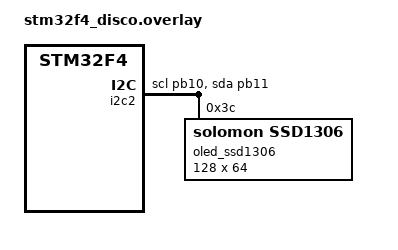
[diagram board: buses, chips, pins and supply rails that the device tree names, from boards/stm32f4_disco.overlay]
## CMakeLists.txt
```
cmake_minimum_required(VERSION 3.20.0)

find_package(Zephyr REQUIRED HINTS $ENV{ZEPHYR_BASE})
project(oled_app)

target_sources(app PRIVATE src/main.c)
```

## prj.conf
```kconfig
CONFIG_I2C=y
CONFIG_PRINTK=y
CONFIG_SERIAL=y
CONFIG_CONSOLE=y
CONFIG_DISPLAY=y
CONFIG_LOG=y
CONFIG_MAIN_STACK_SIZE=4096
```

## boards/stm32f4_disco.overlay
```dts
&i2c2 {
    status = "okay";
	pinctrl-0 = < &i2c2_scl_pb10 &i2c2_sda_pb11 >;

	pinctrl-names = "default";

    oled_ssd1306: oled@3c {
        compatible = "solomon,ssd1306";
        reg = <0x3c>;
        width = <128>;
        height = <64>;
        segment-offset = <0>;
        page-offset = <0>;
        display-offset = <0>;
        multiplex-ratio = <63>;
        segment-remap;
        com-invdir;
        prechargep = <0x22>;
        status = "okay";
    };
};
```

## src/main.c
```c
#include <zephyr/kernel.h>
#include <zephyr/device.h>
#include <zephyr/drivers/i2c.h>
#include <zephyr/drivers/display.h>
#include <zephyr/sys/printk.h>


#define OLED_NODE DT_NODELABEL(oled_ssd1306)

void i2c_scan_bus(const struct device *i2c_dev)
{
    int ret;
    uint8_t addr = 0;
    printk("Scanning I2C bus...\n");

    for (addr = 0x00; addr <= 0xFE; addr++) {
        /* zero-length write = address probe */
        ret = i2c_write(i2c_dev, NULL, 0, addr);
        if (ret == 0) {
            printk("Found device at 0x%02X\n", addr);
        }
    }

    printk("Scan done\n");
}

int main(void)
{
    /*---- Get the pointer of device tree node ----*/
    const struct device *oled_dev = DEVICE_DT_GET(OLED_NODE);

    /*---- Get the pointer of bus used by device node ----*/
    const struct device *i2c_dev = DEVICE_DT_GET(DT_BUS(OLED_NODE));
    if (!device_is_ready(i2c_dev)) {
        printk("I2C device not ready\n");
        return 0;
    }
	
	i2c_scan_bus(i2c_dev);

    device_init(oled_dev);
    if (!device_is_ready(oled_dev)) {
        printk("ERROR: OLED device not ready\n");
        return 0;
    }

    printk("OLED device is ready\n");
    display_blanking_off(oled_dev);

    #define WIDTH   128
    #define HEIGHT   64
    #define BUF_SIZE (WIDTH * HEIGHT / 8)

    uint8_t buf[BUF_SIZE];

    struct display_buffer_descriptor desc = {
        .width = WIDTH,
        .height = HEIGHT,
        .pitch = WIDTH,
        .buf_size = BUF_SIZE,
    };

    while (1) {

        /* 1. All black */
        memset(buf, 0x00, BUF_SIZE);
        display_write(oled_dev, 0, 0, &desc, &buf);
        k_sleep(K_SECONDS(1));

        /* 2. All white */
        memset(buf, 0xFF, BUF_SIZE);
        display_write(oled_dev, 0, 0, &desc, buf);
        k_sleep(K_SECONDS(1));

        /* 3. Vertical stripes */
        for (int i = 0; i < BUF_SIZE; i++) {
            buf[i] = (i % 2) ? 0xFF : 0x00;
        }
        display_write(oled_dev, 0, 0, &desc, buf);
        k_sleep(K_SECONDS(1));

        /* 4. Checkerboard */
        for (int i = 0; i < BUF_SIZE; i++) {
            buf[i] = (i / WIDTH) % 2 ? 0xAA : 0x55;
        }
        display_write(oled_dev, 0, 0, &desc, buf);
        k_sleep(K_SECONDS(1));
    }
   return 0; 
}
```
